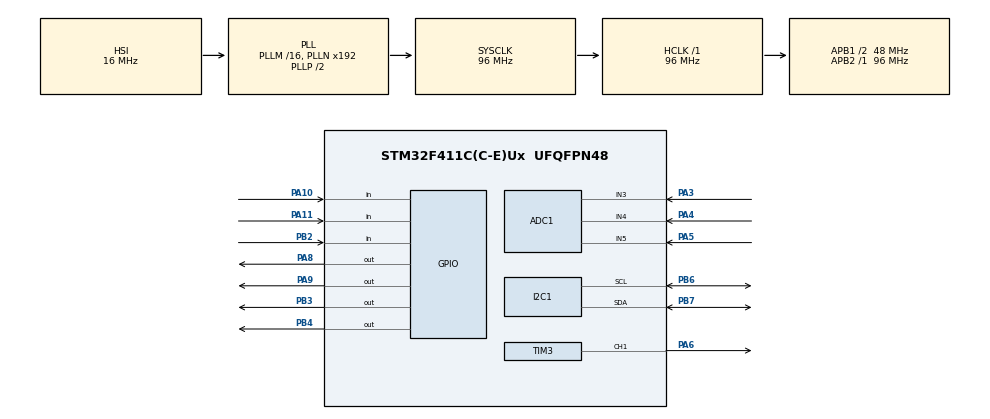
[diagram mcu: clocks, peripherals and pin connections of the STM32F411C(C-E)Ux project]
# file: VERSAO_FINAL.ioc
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ADC1.Channel-0\#ChannelRegularConversion=ADC_CHANNEL_3
ADC1.NbrOfConversionFlag=1
ADC1.Rank-0\#ChannelRegularConversion=1
ADC1.SamplingTime-0\#ChannelRegularConversion=ADC_SAMPLETIME_3CYCLES
ADC1.master=1
Mcu.Family=STM32F4
Mcu.Name=STM32F411C(C-E)Ux
Mcu.Package=UFQFPN48
NVIC.PriorityGroup=NVIC_PRIORITYGROUP_4
NVIC.TIM4_IRQn=true\:0\:0\:false\:false\:true\:true\:true\:true
NVIC.TIM5_IRQn=true\:0\:0\:false\:false\:true\:true\:true\:true
PA10.Signal=GPIO_Input
PA11.Signal=GPIO_Input
PA13.Mode=Serial_Wire
PA13.Signal=SYS_JTMS-SWDIO
PA14.Mode=Serial_Wire
PA14.Signal=SYS_JTCK-SWCLK
PA3.Signal=ADCx_IN3
PA4.Signal=ADCx_IN4
PA5.Signal=ADCx_IN5
PA6.Signal=S_TIM3_CH1
PA8.Signal=GPIO_Output
PA9.Signal=GPIO_Output
PB2.Signal=GPIO_Input
PB3.Signal=GPIO_Output
PB4.Signal=GPIO_Output
PB6.Mode=I2C
PB6.Signal=I2C1_SCL
PB7.Mode=I2C
PB7.Signal=I2C1_SDA
PC14-OSC32_IN.Mode=LSE-External-Oscillator
PC14-OSC32_IN.Signal=RCC_OSC32_IN
PC15-OSC32_OUT.Mode=LSE-External-Oscillator
PC15-OSC32_OUT.Signal=RCC_OSC32_OUT
PH0\ -\ OSC_IN.Mode=HSE-External-Oscillator
PH0\ -\ OSC_IN.Signal=RCC_OSC_IN
PH1\ -\ OSC_OUT.Mode=HSE-External-Oscillator
PH1\ -\ OSC_OUT.Signal=RCC_OSC_OUT
ProjectManager.HeapSize=0x200
ProjectManager.StackSize=0x400
ProjectManager.TargetToolchain=STM32CubeIDE
RCC.AHBFreq_Value=96000000
RCC.APB1CLKDivider=RCC_HCLK_DIV2
RCC.APB1Freq_Value=48000000
RCC.APB1TimFreq_Value=96000000
RCC.APB2Freq_Value=96000000
RCC.APB2TimFreq_Value=96000000
RCC.CortexFreq_Value=96000000
RCC.HCLKFreq_Value=96000000
RCC.HSE_VALUE=25000000
RCC.HSI_VALUE=16000000
RCC.SYSCLKFreq_VALUE=96000000
RCC.SYSCLKSource=RCC_SYSCLKSOURCE_PLLCLK
RCC.VCOOutputFreq_Value=192000000
SH.ADCx_IN3.0=ADC1_IN3,IN3
SH.ADCx_IN4.0=ADC1_IN4,IN4
SH.ADCx_IN5.0=ADC1_IN5,IN5
SH.S_TIM3_CH1.0=TIM3_CH1,PWM Generation1 CH1
TIM3.Channel-PWM\ Generation1\ CH1=TIM_CHANNEL_1
TIM3.Pulse-PWM\ Generation1\ CH1=768
TIM4.Prescaler=9600-1
TIM5.Period=9999
TIM5.Prescaler=9600
VP_TIM3_VS_ClockSourceINT.Mode=Internal
VP_TIM4_VS_ClockSourceINT.Mode=Internal
VP_TIM5_VS_ClockSourceINT.Mode=Internal
board=custom

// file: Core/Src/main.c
/* USER CODE BEGIN Header */
/**
  ******************************************************************************
  * @file           : main.c
  * @brief          : Main program body
  ******************************************************************************
  * @attention
  *
  * Copyright (c) 2025 STMicroelectronics.
  * All rights reserved.
  *
  * This software is licensed under terms that can be found in the LICENSE file
  * in the root directory of this software component.
  * If no LICENSE file comes with this software, it is provided AS-IS.
  *
  ******************************************************************************
  */
/* USER CODE END Header */
#include "main.h"
/* USER CODE BEGIN Includes */
#include <math.h>
/* USER CODE END Includes */

/* USER CODE BEGIN PD */
#define CIRC_RODA 1.885 //circunferencia em metros (pi x diametro da roda(0.06))
#define STR 16 //Steering ratio - 16 graus do volante altera 1 grau da roda
#define TAXA_DE_CONSUMO 10 //faz 10km por litro
#define TANQUE_CHEIO 50 //50 L

int32_t read[3];
float rpm;
float velocidade;
float angulo_roda;
float angulo_volante;
int i=0;
int pwm=0;
float distancia_percorrida=0;
float combustivel_gasto=0;
float combustivel_restante=0;
int opcao=0;
float velocidade_maxima=0;
int vmax_arredondada=0;
int d_arredondada=0;
/* USER CODE END PD */

ADC_HandleTypeDef hadc1;

I2C_HandleTypeDef hi2c1;

TIM_HandleTypeDef htim3;
TIM_HandleTypeDef htim4;
TIM_HandleTypeDef htim5;

I2C_HandleTypeDef hi2c1;
/* USER CODE BEGIN PV */
uint32_t segundos;
uint32_t segundos_temperatura_alta;
int motor_ligado;
int temperatura_alta;
/* USER CODE END PV */

void SystemClock_Config(void);
static void MX_GPIO_Init(void);
static void MX_ADC1_Init(void);
static void MX_TIM3_Init(void);
static void MX_TIM4_Init(void);
static void MX_TIM5_Init(void);
static void MX_I2C1_Init(void);
/* USER CODE BEGIN PFP */
static void ADC1_Set_Channel(uint32_t channel);
float converterADCparaRPM(int32_t adc_rpm);
float calcularVelocidade(float RPM);
float converterADCparaVolante(int32_t adc_volante);
float calcularAnguloRoda(float volante);
float distanciaAtual(float v);
float combustivelGasto(float d);
float combustivelRestante(float a);
void mostrarOpcao();
/* USER CODE END PFP */

/* USER CODE BEGIN 0 */
void HAL_TIM_PeriodElapsedCallback(TIM_HandleTypeDef * htim){
	if (htim->Instance == TIM4){
		segundos++;
		distancia_percorrida += velocidade/3600;
	}

	if (htim->Instance == TIM5){
		segundos_temperatura_alta++;
	}
}
/* USER CODE END 0 */

int main(void)
{

  /* MCU Configuration--------------------------------------------------------*/

  /* Reset of all peripherals, Initializes the Flash interface and the Systick. */
  HAL_Init();

  /* Configure the system clock */
  SystemClock_Config();

  /* Initialize all configured peripherals */
  MX_GPIO_Init();
  MX_ADC1_Init();
  MX_TIM3_Init();
  MX_TIM4_Init();
  MX_TIM5_Init();
  MX_I2C1_Init();
  HD44780_Init(2);

  HD44780_Clear();
  HD44780_SetCursor(0,0);
  HD44780_PrintStr("VISUALIZAR:");
  /* USER CODE BEGIN 2 */
  HAL_TIM_PWM_Start(&htim3, TIM_CHANNEL_1);
  segundos=0;
  /* USER CODE END 2 */

  /* Infinite loop */
  /* USER CODE BEGIN WHILE */
  while (1)
  {

	  if(!HAL_GPIO_ReadPin(GPIOA, GPIO_PIN_10)){
	  		  HAL_TIM_Base_Start_IT(&htim4);
	  		  motor_ligado=1;

	  	  if(!HAL_GPIO_ReadPin(GPIOA, GPIO_PIN_11)){
	  	  		  HAL_TIM_Base_Start_IT(&htim5);
	  	  		  temperatura_alta=1;
	  	  	  } else {
	  	  		  HAL_TIM_Base_Stop_IT(&htim5);
	  	  		  temperatura_alta=0;
	  	  		  segundos_temperatura_alta=0;
	  	  	  }

	      HAL_GPIO_WritePin(GPIOB, GPIO_PIN_3, GPIO_PIN_SET);
	  	  ADC1_Set_Channel(ADC_CHANNEL_5);
	  	  HAL_ADC_Start(&hadc1);
	  	  HAL_ADC_PollForConversion(&hadc1,100);
	  	  read[0]= HAL_ADC_GetValue(&hadc1);
	  	  rpm = converterADCparaRPM(read[0]);
	  	  velocidade = calcularVelocidade(rpm);
	  	  HAL_Delay(10);

	  	  ADC1_Set_Channel(ADC_CHANNEL_4);
	  	  HAL_ADC_Start(&hadc1);
	  	  HAL_ADC_PollForConversion(&hadc1,100);
	  	  read[1]= HAL_ADC_GetValue(&hadc1);
	  	  angulo_volante = converterADCparaVolante(read[1]);
	  	  angulo_roda = calcularAnguloRoda(angulo_volante);
	  	  HAL_Delay(10);

	  	  ADC1_Set_Channel(ADC_CHANNEL_3);
	  	  HAL_ADC_Start(&hadc1);
	  	  HAL_ADC_PollForConversion(&hadc1,100);
	  	  read[2]= HAL_ADC_GetValue(&hadc1);

	  	  combustivel_gasto=combustivelGasto(distancia_percorrida);
	  	  combustivel_restante=combustivelRestante(combustivel_gasto);

	  	  if (combustivel_restante<10){
	  		HAL_GPIO_WritePin(GPIOA, GPIO_PIN_9, GPIO_PIN_SET);
	  	  }

	  	  if(read[2]>3800){
	  		  HAL_GPIO_WritePin(GPIOB, GPIO_PIN_4, 1);
	  	  } else {
	  		  HAL_GPIO_WritePin(GPIOB, GPIO_PIN_4, 0);
	  	  }

	  	  if(segundos_temperatura_alta>3){
	  		HAL_GPIO_WritePin(GPIOA, GPIO_PIN_8, GPIO_PIN_SET);
	  		for(i=0; i<100; i++){
	  				 htim3.Instance->CCR1 = (htim3.Instance->ARR*i)/100;
	  				 HAL_Delay(50);
	  			 }

	  			 for (i=100; i>0; i--){
	  				 htim3.Instance->CCR1 = (htim3.Instance->ARR*i)/100;
	  				 HAL_Delay(50);
	  			 }
	  			HAL_GPIO_WritePin(GPIOA, GPIO_PIN_8, GPIO_PIN_RESET);
	  	  }

	  	  HAL_Delay(10);

	  	if(!HAL_GPIO_ReadPin(GPIOB, GPIO_PIN_2)){
	  			HAL_Delay(100);
	  			opcao++;

	  			if(opcao>4){
	  				opcao=0;
	  			}

	  	mostrarOpcao();
	  	}

	  }	else {
	  		  		  HAL_TIM_Base_Stop_IT(&htim4);
	  		  		  motor_ligado=0;
	  		  		  HAL_GPIO_WritePin(GPIOB, GPIO_PIN_3, GPIO_PIN_RESET);
	  		  	  }
    /* USER CODE END WHILE */

}
}

void SystemClock_Config(void)
{
  RCC_OscInitTypeDef RCC_OscInitStruct = {0};
  RCC_ClkInitTypeDef RCC_ClkInitStruct = {0};

  /** Configure the main internal regulator output voltage
  */
  __HAL_RCC_PWR_CLK_ENABLE();
  __HAL_PWR_VOLTAGESCALING_CONFIG(PWR_REGULATOR_VOLTAGE_SCALE1);

  /** Initializes the RCC Oscillators according to the specified parameters
  * in the RCC_OscInitTypeDef structure.
  */
  RCC_OscInitStruct.OscillatorType = RCC_OSCILLATORTYPE_HSI;
  RCC_OscInitStruct.HSIState = RCC_HSI_ON;
  RCC_OscInitStruct.HSICalibrationValue = RCC_HSICALIBRATION_DEFAULT;
  RCC_OscInitStruct.PLL.PLLState = RCC_PLL_ON;
  RCC_OscInitStruct.PLL.PLLSource = RCC_PLLSOURCE_HSI;
  RCC_OscInitStruct.PLL.PLLM = 16;
  RCC_OscInitStruct.PLL.PLLN = 192;
  RCC_OscInitStruct.PLL.PLLP = RCC_PLLP_DIV2;
  RCC_OscInitStruct.PLL.PLLQ = 4;
  if (HAL_RCC_OscConfig(&RCC_OscInitStruct) != HAL_OK)
  {
    Error_Handler();
  }

  /** Initializes the CPU, AHB and APB buses clocks
  */
  RCC_ClkInitStruct.ClockType = RCC_CLOCKTYPE_HCLK|RCC_CLOCKTYPE_SYSCLK
                              |RCC_CLOCKTYPE_PCLK1|RCC_CLOCKTYPE_PCLK2;
  RCC_ClkInitStruct.SYSCLKSource = RCC_SYSCLKSOURCE_PLLCLK;
  RCC_ClkInitStruct.AHBCLKDivider = RCC_SYSCLK_DIV1;
  RCC_ClkInitStruct.APB1CLKDivider = RCC_HCLK_DIV2;
  RCC_ClkInitStruct.APB2CLKDivider = RCC_HCLK_DIV1;

  if (HAL_RCC_ClockConfig(&RCC_ClkInitStruct, FLASH_LATENCY_3) != HAL_OK)
  {
    Error_Handler();
  }
}

static void MX_ADC1_Init(void)
{

  ADC_ChannelConfTypeDef sConfig = {0};

  /** Configure the global features of the ADC (Clock, Resolution, Data Alignment and number of conversion)
  */
  hadc1.Instance = ADC1;
  hadc1.Init.ClockPrescaler = ADC_CLOCK_SYNC_PCLK_DIV4;
  hadc1.Init.Resolution = ADC_RESOLUTION_12B;
  hadc1.Init.ScanConvMode = DISABLE;
  hadc1.Init.ContinuousConvMode = DISABLE;
  hadc1.Init.DiscontinuousConvMode = DISABLE;
  hadc1.Init.ExternalTrigConvEdge = ADC_EXTERNALTRIGCONVEDGE_NONE;
  hadc1.Init.ExternalTrigConv = ADC_SOFTWARE_START;
  hadc1.Init.DataAlign = ADC_DATAALIGN_RIGHT;
  hadc1.Init.NbrOfConversion = 1;
  hadc1.Init.DMAContinuousRequests = DISABLE;
  hadc1.Init.EOCSelection = ADC_EOC_SINGLE_CONV;
  if (HAL_ADC_Init(&hadc1) != HAL_OK)
  {
    Error_Handler();
  }

  /** Configure for the selected ADC regular channel its corresponding rank in the sequencer and its sample time.
  */
  sConfig.Channel = ADC_CHANNEL_3;
  sConfig.Rank = 1;
  sConfig.SamplingTime = ADC_SAMPLETIME_3CYCLES;
  if (HAL_ADC_ConfigChannel(&hadc1, &sConfig) != HAL_OK)
  {
    Error_Handler();
  }

}

static void MX_I2C1_Init(void)
{

  hi2c1.Instance = I2C1;
  hi2c1.Init.ClockSpeed = 100000;
  hi2c1.Init.DutyCycle = I2C_DUTYCYCLE_2;
  hi2c1.Init.OwnAddress1 = 0;
  hi2c1.Init.AddressingMode = I2C_ADDRESSINGMODE_7BIT;
  hi2c1.Init.DualAddressMode = I2C_DUALADDRESS_DISABLE;
  hi2c1.Init.OwnAddress2 = 0;
  hi2c1.Init.GeneralCallMode = I2C_GENERALCALL_DISABLE;
  hi2c1.Init.NoStretchMode = I2C_NOSTRETCH_DISABLE;
  if (HAL_I2C_Init(&hi2c1) != HAL_OK)
  {
    Error_Handler();
  }

}

static void MX_TIM3_Init(void)
{

  TIM_ClockConfigTypeDef sClockSourceConfig = {0};
  TIM_MasterConfigTypeDef sMasterConfig = {0};
  TIM_OC_InitTypeDef sConfigOC = {0};

  htim3.Instance = TIM3;
  htim3.Init.Prescaler = 0;
  htim3.Init.CounterMode = TIM_COUNTERMODE_UP;
  htim3.Init.Period = 1920;
  htim3.Init.ClockDivision = TIM_CLOCKDIVISION_DIV1;
  htim3.Init.AutoReloadPreload = TIM_AUTORELOAD_PRELOAD_DISABLE;
  if (HAL_TIM_Base_Init(&htim3) != HAL_OK)
  {
    Error_Handler();
  }
  sClockSourceConfig.ClockSource = TIM_CLOCKSOURCE_INTERNAL;
  if (HAL_TIM_ConfigClockSource(&htim3, &sClockSourceConfig) != HAL_OK)
  {
    Error_Handler();
  }
  if (HAL_TIM_PWM_Init(&htim3) != HAL_OK)
  {
    Error_Handler();
  }
  sMasterConfig.MasterOutputTrigger = TIM_TRGO_RESET;
  sMasterConfig.MasterSlaveMode = TIM_MASTERSLAVEMODE_DISABLE;
  if (HAL_TIMEx_MasterConfigSynchronization(&htim3, &sMasterConfig) != HAL_OK)
  {
    Error_Handler();
  }
  sConfigOC.OCMode = TIM_OCMODE_PWM1;
  sConfigOC.Pulse = 0;
  sConfigOC.OCPolarity = TIM_OCPOLARITY_HIGH;
  sConfigOC.OCFastMode = TIM_OCFAST_DISABLE;
  if (HAL_TIM_PWM_ConfigChannel(&htim3, &sConfigOC, TIM_CHANNEL_1) != HAL_OK)
  {
    Error_Handler();
  }
  HAL_TIM_MspPostInit(&htim3);

}

static void MX_TIM4_Init(void)
{

  TIM_ClockConfigTypeDef sClockSourceConfig = {0};
  TIM_MasterConfigTypeDef sMasterConfig = {0};

  htim4.Instance = TIM4;
  htim4.Init.Prescaler = 9600-1;
  htim4.Init.CounterMode = TIM_COUNTERMODE_UP;
  htim4.Init.Period = 9999;
  htim4.Init.ClockDivision = TIM_CLOCKDIVISION_DIV1;
  htim4.Init.AutoReloadPreload = TIM_AUTORELOAD_PRELOAD_DISABLE;
  if (HAL_TIM_Base_Init(&htim4) != HAL_OK)
  {
    Error_Handler();
  }
  sClockSourceConfig.ClockSource = TIM_CLOCKSOURCE_INTERNAL;
  if (HAL_TIM_ConfigClockSource(&htim4, &sClockSourceConfig) != HAL_OK)
  {
    Error_Handler();
  }
  sMasterConfig.MasterOutputTrigger = TIM_TRGO_RESET;
  sMasterConfig.MasterSlaveMode = TIM_MASTERSLAVEMODE_DISABLE;
  if (HAL_TIMEx_MasterConfigSynchronization(&htim4, &sMasterConfig) != HAL_OK)
  {
    Error_Handler();
  }

}

static void MX_TIM5_Init(void)
{

  TIM_ClockConfigTypeDef sClockSourceConfig = {0};
  TIM_MasterConfigTypeDef sMasterConfig = {0};

  htim5.Instance = TIM5;
  htim5.Init.Prescaler = 9600-1;
  htim5.Init.CounterMode = TIM_COUNTERMODE_UP;
  htim5.Init.Period = 9999;
  htim5.Init.ClockDivision = TIM_CLOCKDIVISION_DIV1;
  htim5.Init.AutoReloadPreload = TIM_AUTORELOAD_PRELOAD_DISABLE;
  if (HAL_TIM_Base_Init(&htim5) != HAL_OK)
  {
    Error_Handler();
  }
  sClockSourceConfig.ClockSource = TIM_CLOCKSOURCE_INTERNAL;
  if (HAL_TIM_ConfigClockSource(&htim5, &sClockSourceConfig) != HAL_OK)
  {
    Error_Handler();
  }
  sMasterConfig.MasterOutputTrigger = TIM_TRGO_RESET;
  sMasterConfig.MasterSlaveMode = TIM_MASTERSLAVEMODE_DISABLE;
  if (HAL_TIMEx_MasterConfigSynchronization(&htim5, &sMasterConfig) != HAL_OK)
  {
    Error_Handler();
  }

}

static void MX_GPIO_Init(void)
{
  GPIO_InitTypeDef GPIO_InitStruct = {0};

  /* GPIO Ports Clock Enable */
  __HAL_RCC_GPIOC_CLK_ENABLE();
  __HAL_RCC_GPIOH_CLK_ENABLE();
  __HAL_RCC_GPIOA_CLK_ENABLE();
  __HAL_RCC_GPIOB_CLK_ENABLE();

  /*Configure GPIO pin Output Level */
  HAL_GPIO_WritePin(GPIOA, GPIO_PIN_8|GPIO_PIN_9, GPIO_PIN_RESET);

  /*Configure GPIO pin Output Level */
  HAL_GPIO_WritePin(GPIOB, GPIO_PIN_3|GPIO_PIN_4, GPIO_PIN_RESET);

  /*Configure GPIO pin : PB2 */
  GPIO_InitStruct.Pin = GPIO_PIN_2;
  GPIO_InitStruct.Mode = GPIO_MODE_INPUT;
  GPIO_InitStruct.Pull = GPIO_NOPULL;
  HAL_GPIO_Init(GPIOB, &GPIO_InitStruct);

  /*Configure GPIO pins : PA8 PA9 */
  GPIO_InitStruct.Pin = GPIO_PIN_8|GPIO_PIN_9;
  GPIO_InitStruct.Mode = GPIO_MODE_OUTPUT_PP;
  GPIO_InitStruct.Pull = GPIO_NOPULL;
  GPIO_InitStruct.Speed = GPIO_SPEED_FREQ_LOW;
  HAL_GPIO_Init(GPIOA, &GPIO_InitStruct);

  /*Configure GPIO pins : PA10 PA11 */
  GPIO_InitStruct.Pin = GPIO_PIN_10|GPIO_PIN_11;
  GPIO_InitStruct.Mode = GPIO_MODE_INPUT;
  GPIO_InitStruct.Pull = GPIO_NOPULL;
  HAL_GPIO_Init(GPIOA, &GPIO_InitStruct);

  /*Configure GPIO pins : PB3 PB4 */
  GPIO_InitStruct.Pin = GPIO_PIN_3|GPIO_PIN_4;
  GPIO_InitStruct.Mode = GPIO_MODE_OUTPUT_PP;
  GPIO_InitStruct.Pull = GPIO_NOPULL;
  GPIO_InitStruct.Speed = GPIO_SPEED_FREQ_LOW;
  HAL_GPIO_Init(GPIOB, &GPIO_InitStruct);

}

/* USER CODE BEGIN 4 */
static void ADC1_Set_Channel(uint32_t channel)
{

  /* USER CODE BEGIN ADC1_Init 0 */

  /* USER CODE END ADC1_Init 0 */

  ADC_ChannelConfTypeDef sConfig = {0};

  /* USER CODE BEGIN ADC1_Init 1 */

  /* USER CODE END ADC1_Init 1 */

  /** Configure the global features of the ADC (Clock, Resolution, Data Alignment and number of conversion)
  */

  /** Configure for the selected ADC regular channel its corresponding rank in the sequencer and its sample time.
  */
  sConfig.Channel = channel;
  sConfig.Rank = 1;
  sConfig.SamplingTime = ADC_SAMPLETIME_3CYCLES;
  if (HAL_ADC_ConfigChannel(&hadc1, &sConfig) != HAL_OK)
  {
    Error_Handler();
  }
  /* USER CODE BEGIN ADC1_Init 2 */

  /* USER CODE END ADC1_Init 2 */
}

float converterADCparaRPM(int32_t adc_rpm){
	return (adc_rpm*1500)/4095;
}

float calcularVelocidade(float RPM){
	return RPM*CIRC_RODA*0.06;
}

float converterADCparaVolante(int32_t adc_volante){
	return (adc_volante*450)/4095;
}

float calcularAnguloRoda(float volante){
	return volante/STR;
}

float combustivelGasto(float d){
	return d/TAXA_DE_CONSUMO;
}

float combustivelRestante(float a){
	return TANQUE_CHEIO - a;
}

void mostrarOpcao(){
	switch(opcao){
			case 0:
				HD44780_Clear();
				HD44780_SetCursor(0,0);
				HD44780_PrintStr("VISUALIZAR:");
				HD44780_SetCursor(0,1);
				HD44780_PrintStr("SELECIONE>>>>>");
				break;
			case 1:
				HD44780_Clear();
				HD44780_SetCursor(0,0);
				HD44780_PrintStr("1.VEL. MAX:");
				HD44780_SetCursor(0,1);
				if(velocidade>velocidade_maxima){
						velocidade_maxima = velocidade;
				}
				vmax_arredondada=(int)round(velocidade_maxima);
				char snum[10];
				itoa(vmax_arredondada, snum, 10);
					HD44780_PrintStr(snum);
				break;
			case 2:
				HD44780_Clear();
				HD44780_SetCursor(0,0);
				HD44780_PrintStr("2.TANQUE:");
				HD44780_SetCursor(0,1);
				if (combustivel_restante>30){
					HD44780_PrintStr("CHEIO");
				} else if (combustivel_restante>20) {
					HD44780_PrintStr("RESERVA");
				} else {
					HD44780_PrintStr("ABASTECER!");
				}
				break;
			case 3:
				HD44780_Clear();
				HD44780_SetCursor(0,0);
				HD44780_PrintStr("3.ODOMETRO:");
				HD44780_SetCursor(0,1);
				d_arredondada=(int)round(distancia_percorrida);
				char dnum[10];
				itoa(d_arredondada, dnum, 10);
				HD44780_PrintStr(dnum);
				break;
			case 4:
				HD44780_Clear();
				HD44780_SetCursor(0,0);
				HD44780_PrintStr("4. DIRECAO:");
				HD44780_SetCursor(0,1);
				if (angulo_volante<220){
					HD44780_PrintStr("ESQUERDA");
				} else if (angulo_volante>220) {
					HD44780_PrintStr("DIREITA");
				} else {
					HD44780_PrintStr("CENTRO");
								}
				break;
			}
}
/* USER CODE END 4 */

void Error_Handler(void)
{
  __disable_irq();
  while (1)
  {
  }
}
